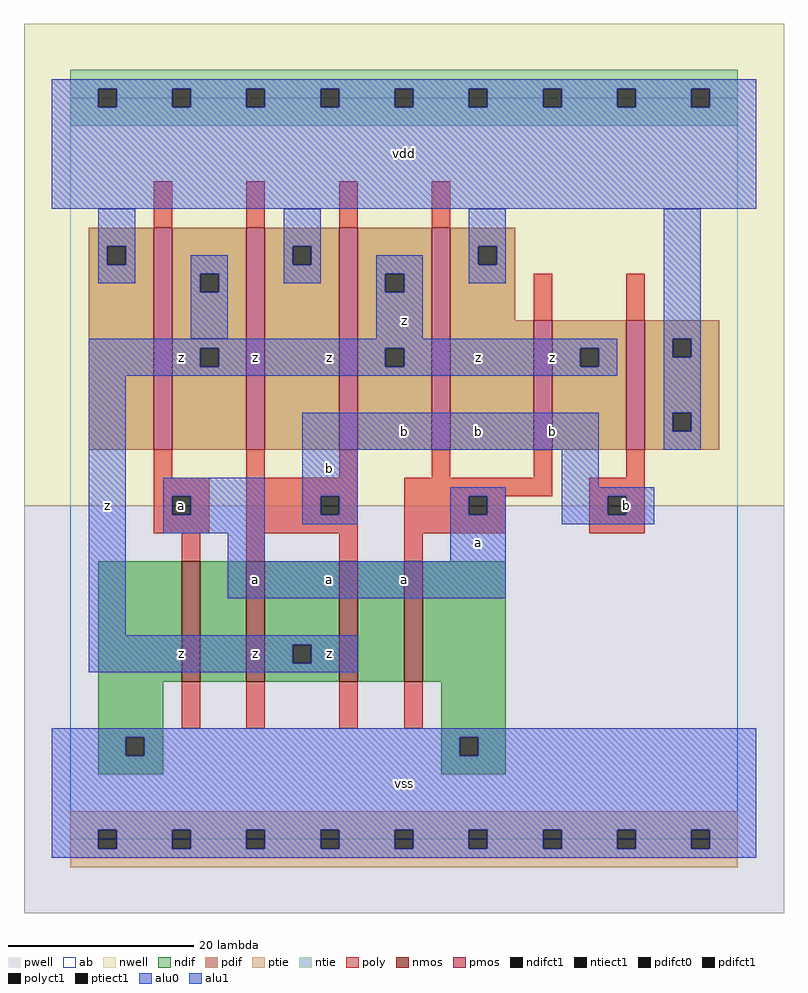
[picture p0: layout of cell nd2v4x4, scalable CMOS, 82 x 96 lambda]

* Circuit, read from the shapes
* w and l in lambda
.subckt nd2v4x4 a b vdd vss z
M1 n1 a vss vss nfet w=13 l=2
M2 z b n1 vss nfet w=13 l=2
M3 n2 b z vss nfet w=13 l=2
M4 vss a n2 vss nfet w=13 l=2
M5 z a vdd vdd pfet w=24 l=2 m=2
M6 vdd b z vdd pfet w=24 l=2 m=2
M7 z a vdd vdd pfet w=14 l=2
M8 vdd b z vdd pfet w=14 l=2
.ends

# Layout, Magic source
magic
tech scmos
<< ab >>
rect 0 0 72 80
<< nwell >>
rect -5 36 77 88
<< pwell >>
rect -5 -8 77 36
<< poly >>
rect 9 66 11 71
rect 19 66 21 71
rect 29 66 31 71
rect 39 66 41 71
rect 50 56 52 61
rect 60 56 62 61
rect 9 39 11 42
rect 19 39 21 42
rect 29 39 31 42
rect 39 39 41 42
rect 50 39 52 42
rect 60 39 62 42
rect 9 37 15 39
rect 9 35 11 37
rect 13 35 15 37
rect 9 33 15 35
rect 19 37 31 39
rect 19 35 27 37
rect 29 35 31 37
rect 19 33 31 35
rect 12 30 14 33
rect 19 30 21 33
rect 29 30 31 33
rect 36 37 52 39
rect 56 37 62 39
rect 36 35 43 37
rect 45 35 47 37
rect 36 33 47 35
rect 56 35 58 37
rect 60 35 62 37
rect 56 33 62 35
rect 36 30 38 33
rect 12 12 14 17
rect 19 12 21 17
rect 29 12 31 17
rect 36 12 38 17
<< ndif >>
rect 3 17 12 30
rect 14 17 19 30
rect 21 21 29 30
rect 21 19 24 21
rect 26 19 29 21
rect 21 17 29 19
rect 31 17 36 30
rect 38 17 47 30
rect 3 11 10 17
rect 3 9 6 11
rect 8 9 10 11
rect 3 7 10 9
rect 40 11 47 17
rect 40 9 42 11
rect 44 9 47 11
rect 40 7 47 9
<< pdif >>
rect 2 64 9 66
rect 2 62 4 64
rect 6 62 9 64
rect 2 42 9 62
rect 11 61 19 66
rect 11 59 14 61
rect 16 59 19 61
rect 11 53 19 59
rect 11 51 14 53
rect 16 51 19 53
rect 11 42 19 51
rect 21 64 29 66
rect 21 62 24 64
rect 26 62 29 64
rect 21 42 29 62
rect 31 61 39 66
rect 31 59 34 61
rect 36 59 39 61
rect 31 53 39 59
rect 31 51 34 53
rect 36 51 39 53
rect 31 42 39 51
rect 41 64 48 66
rect 41 62 44 64
rect 46 62 48 64
rect 41 56 48 62
rect 41 42 50 56
rect 52 53 60 56
rect 52 51 55 53
rect 57 51 60 53
rect 52 42 60 51
rect 62 54 70 56
rect 62 52 65 54
rect 67 52 70 54
rect 62 46 70 52
rect 62 44 65 46
rect 67 44 70 46
rect 62 42 70 44
<< alu1 >>
rect -2 81 74 82
rect -2 79 3 81
rect 5 79 11 81
rect 13 79 19 81
rect 21 79 27 81
rect 29 79 35 81
rect 37 79 43 81
rect 45 79 51 81
rect 53 79 59 81
rect 61 79 67 81
rect 69 79 74 81
rect -2 68 74 79
rect 33 61 38 63
rect 33 59 34 61
rect 36 59 38 61
rect 33 54 38 59
rect 2 53 59 54
rect 2 51 14 53
rect 16 51 34 53
rect 36 51 55 53
rect 57 51 59 53
rect 2 50 59 51
rect 2 22 6 50
rect 25 42 57 46
rect 10 37 21 39
rect 10 35 11 37
rect 13 35 21 37
rect 10 33 21 35
rect 25 37 31 42
rect 53 38 57 42
rect 25 35 27 37
rect 29 35 31 37
rect 25 34 31 35
rect 41 37 47 38
rect 41 35 43 37
rect 45 35 47 37
rect 17 30 21 33
rect 41 30 47 35
rect 53 37 63 38
rect 53 35 58 37
rect 60 35 63 37
rect 53 34 63 35
rect 17 26 47 30
rect 2 21 31 22
rect 2 19 24 21
rect 26 19 31 21
rect 2 18 31 19
rect -2 11 74 12
rect -2 9 6 11
rect 8 9 42 11
rect 44 9 74 11
rect -2 1 74 9
rect -2 -1 3 1
rect 5 -1 11 1
rect 13 -1 19 1
rect 21 -1 27 1
rect 29 -1 35 1
rect 37 -1 43 1
rect 45 -1 51 1
rect 53 -1 59 1
rect 61 -1 67 1
rect 69 -1 74 1
rect -2 -2 74 -1
<< ptie >>
rect 0 1 72 3
rect 0 -1 3 1
rect 5 -1 11 1
rect 13 -1 19 1
rect 21 -1 27 1
rect 29 -1 35 1
rect 37 -1 43 1
rect 45 -1 51 1
rect 53 -1 59 1
rect 61 -1 67 1
rect 69 -1 72 1
rect 0 -3 72 -1
<< ntie >>
rect 0 81 72 83
rect 0 79 3 81
rect 5 79 11 81
rect 13 79 19 81
rect 21 79 27 81
rect 29 79 35 81
rect 37 79 43 81
rect 45 79 51 81
rect 53 79 59 81
rect 61 79 67 81
rect 69 79 72 81
rect 0 77 72 79
<< nmos >>
rect 12 17 14 30
rect 19 17 21 30
rect 29 17 31 30
rect 36 17 38 30
<< pmos >>
rect 9 42 11 66
rect 19 42 21 66
rect 29 42 31 66
rect 39 42 41 66
rect 50 42 52 56
rect 60 42 62 56
<< polyct1 >>
rect 11 35 13 37
rect 27 35 29 37
rect 43 35 45 37
rect 58 35 60 37
<< ndifct1 >>
rect 24 19 26 21
rect 6 9 8 11
rect 42 9 44 11
<< ntiect1 >>
rect 3 79 5 81
rect 11 79 13 81
rect 19 79 21 81
rect 27 79 29 81
rect 35 79 37 81
rect 43 79 45 81
rect 51 79 53 81
rect 59 79 61 81
rect 67 79 69 81
<< ptiect1 >>
rect 3 -1 5 1
rect 11 -1 13 1
rect 19 -1 21 1
rect 27 -1 29 1
rect 35 -1 37 1
rect 43 -1 45 1
rect 51 -1 53 1
rect 59 -1 61 1
rect 67 -1 69 1
<< pdifct0 >>
rect 4 62 6 64
rect 14 59 16 61
rect 24 62 26 64
rect 44 62 46 64
rect 65 52 67 54
rect 65 44 67 46
<< pdifct1 >>
rect 14 51 16 53
rect 34 59 36 61
rect 34 51 36 53
rect 55 51 57 53
<< alu0 >>
rect 3 64 7 68
rect 3 62 4 64
rect 6 62 7 64
rect 23 64 27 68
rect 3 60 7 62
rect 13 61 17 63
rect 13 59 14 61
rect 16 59 17 61
rect 23 62 24 64
rect 26 62 27 64
rect 43 64 47 68
rect 23 60 27 62
rect 13 54 17 59
rect 43 62 44 64
rect 46 62 47 64
rect 43 60 47 62
rect 64 54 68 68
rect 64 52 65 54
rect 67 52 68 54
rect 64 46 68 52
rect 64 44 65 46
rect 67 44 68 46
rect 64 42 68 44
<< labels >>
rlabel alu1 12 20 12 20 6 z
rlabel polyct1 12 36 12 36 6 a
rlabel alu1 4 36 4 36 6 z
rlabel alu1 12 52 12 52 6 z
rlabel alu1 28 20 28 20 6 z
rlabel alu1 20 20 20 20 6 z
rlabel alu1 20 28 20 28 6 a
rlabel alu1 28 28 28 28 6 a
rlabel alu1 28 40 28 40 6 b
rlabel alu1 20 52 20 52 6 z
rlabel alu1 28 52 28 52 6 z
rlabel alu1 36 6 36 6 6 vss
rlabel alu1 36 28 36 28 6 a
rlabel alu1 44 32 44 32 6 a
rlabel alu1 44 44 44 44 6 b
rlabel alu1 52 44 52 44 6 b
rlabel alu1 36 44 36 44 6 b
rlabel alu1 36 56 36 56 6 z
rlabel alu1 44 52 44 52 6 z
rlabel alu1 52 52 52 52 6 z
rlabel alu1 36 74 36 74 6 vdd
rlabel alu1 60 36 60 36 6 b
<< end >>
